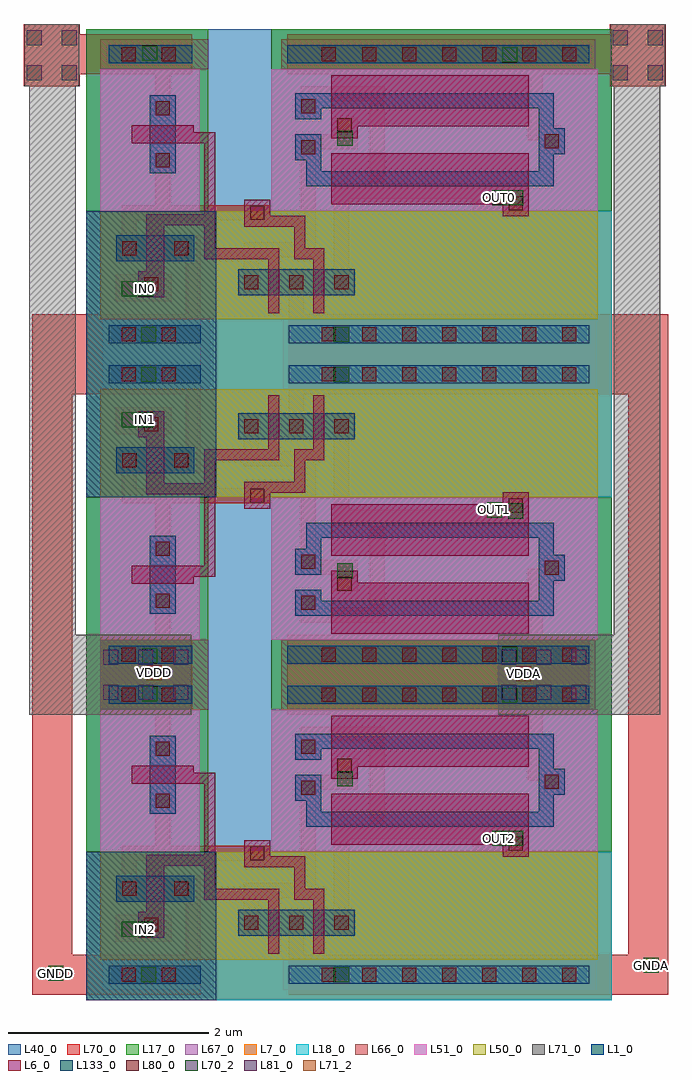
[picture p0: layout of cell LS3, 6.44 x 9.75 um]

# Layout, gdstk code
from math import pi, radians
import gdstk
lib = gdstk.Library(unit=1e-6, precision=1e-09)
def R(c, l, rs):  # rectangles x0, y0, x1, y1
    for r in rs: c.add(gdstk.rectangle(r[:2], r[2:], *l))
def A(c, l, x, y, w, h, nx, ny, dx, dy):  # array of equal rectangles
    R(c, l, [(x+i*dx, y+j*dy, x+i*dx+w, y+j*dy+h) for i in range(nx) for j in range(ny)])
def P(c, l, *ps):  # polygons
    for p in ps: c.add(gdstk.Polygon(p, *l))
L1_0 = (1, 0)
L6_0 = (6, 0)
L7_0 = (7, 0)
L17_0 = (17, 0)
L18_0 = (18, 0)
L40_0 = (40, 0)
L50_0 = (50, 0)
L51_0 = (51, 0)
L66_0 = (66, 0)
L67_0 = (67, 0)
L70_0 = (70, 0)
L70_2 = (70, 2)
L71_0 = (71, 0)
L71_2 = (71, 2)
L80_0 = (80, 0)
L81_0 = (81, 0)
L133_0 = (133, 0)

c_ls = lib.new_cell('LS')
R(c_ls, L1_0, [(0,-0.09,0.92,0.09), (1.8,-0.09,4.8,0.09), (1.295,0.39,2.455,0.65), (0.075,0.73,0.855,0.99), (0.41,1.61,0.67,2.39), (1.865,1.74,2.125,2), (4.295,1.8,4.555,2.06), (0,2.71,0.835,2.89), (1.785,2.71,4.8,2.89)])
P(c_ls, L1_0, [(4.445,1.98),(4.295,1.98),(4.295,1.63),(2.125,1.63),(2.125,1.835),(1.975,1.835),(1.975,1.48),(4.445,1.48)],
  [(4.445,2.41),(1.865,2.41),(1.865,2.15),(2.125,2.15),(2.125,2.26),(4.295,2.26),(4.295,1.98),(4.445,1.98)])
R(c_ls, L6_0, [(1.595,0.21,1.705,0.83), (2.045,0.21,2.155,0.765), (1.855,0.75,2.155,0.86), (0.375,1.09,0.955,1.2), (3.935,1.18,4.195,1.3), (2.225,1.3,4.195,1.81), (2.225,1.96,2.485,2.08), (2.225,2.08,4.195,2.59)])
P(c_ls, L6_0, [(1.705,0.86),(1.065,0.86),(1.065,2.02),(0.85,2.02),(0.85,2.09),(0.23,2.09),(0.23,1.91),(0.955,1.91),(0.955,0.75),(1.705,0.75)],
  [(0.555,1.17),(0.375,1.17),(0.375,0.63),(0.295,0.63),(0.295,0.37),(0.555,0.37)],
  [(1.965,1.185),(1.615,1.185),(1.615,1.345),(1.355,1.345),(1.355,1.075),(1.855,1.075),(1.855,0.815),(1.965,0.815)])
R(c_ls, L7_0, [(-0.225,-0.25,5.025,1.23)])
R(c_ls, L17_0, [(-0.225,1.23,0.995,3.05), (1.625,1.23,5.025,3.05)])
R(c_ls, L18_0, [(-0.225,-0.25,5.025,1.23)])
R(c_ls, L40_0, [(-0.225,-0.25,5.025,3.05)])
R(c_ls, L50_0, [(-0.085,0.15,4.885,1.23)])
R(c_ls, L51_0, [(-0.085,1.23,0.91,2.65), (1.625,1.23,4.885,2.65)])
R(c_ls, L66_0, [(-0.085,0.15,4.885,1.23), (-0.085,2.65,0.995,2.95), (1.725,2.65,4.86,2.95)])
R(c_ls, L67_0, [(-0.06,-0.15,1.01,0.15), (1.74,-0.15,4.86,0.15), (-0.085,1.23,0.91,2.65), (1.625,1.23,4.885,2.65)])
R(c_ls, L70_0, [(0.07,0.33,0.63,0.6), (1.35,0.39,1.5,0.835), (1.35,0.77,2.07,0.92), (1.92,0.92,2.07,2), (3.635,1.235,4.195,1.505), (2.07,1.85,2.485,2), (2.225,1.85,2.485,2.165), (1.92,2.15,2.07,2.33)])
P(c_ls, L70_0, [(0.92,0.99),(0.65,0.99),(0.65,0.73),(0.77,0.73),(0.77,0.2),(0,0.2),(0,-0.2),(0.92,-0.2)],
  [(4.8,3),(1.785,3),(1.785,2.6),(4.185,2.6),(4.185,1.94),(4.35,1.94),(4.35,1.8),(4.5,1.8),(4.5,2.09),(4.335,2.09),(4.335,2.6),(4.8,2.6)],
  [(0.835,3),(0,3),(0,2.6),(0.465,2.6),(0.465,2.13),(0.615,2.13),(0.615,2.6),(0.835,2.6)],
  [(4.8,0.2),(1.95,0.2),(1.95,0.65),(1.8,0.65),(1.8,-0.2),(4.8,-0.2)],
  [(4.195,1.505),(2.755,1.505),(2.755,2.48),(1.92,2.48),(1.92,2.33),(2.605,2.33),(2.605,1.505),(2.25,1.505),(2.25,0.39),(2.4,0.39),(2.4,1.355),(4.195,1.355)],
  [(1.615,1.29),(0.615,1.29),(0.615,1.87),(0.465,1.87),(0.465,1.29),(0.13,1.29),(0.13,0.73),(0.28,0.73),(0.28,1.14),(1.615,1.14)])
R(c_ls, L70_2, [(0.325,-0.075,0.475,0.075), (2.25,-0.075,2.4,0.075), (0.13,0.38,0.28,0.53), (3.99,1.29,4.14,1.44), (2.285,1.885,2.435,2.035), (3.93,2.72,4.08,2.87), (0.335,2.735,0.485,2.885)])
A(c_ls, L80_0, 2.13, -0.07, 0.14, 0.14, 7, 2, 0.4, 2.8)
R(c_ls, L80_0, [(0.13,-0.07,0.27,0.07), (0.53,-0.07,0.67,0.07), (0.355,0.43,0.495,0.57), (1.355,0.45,1.495,0.59), (1.805,0.45,1.945,0.59), (1.805,0.45,1.945,0.59), (2.255,0.45,2.395,0.59), (0.135,0.79,0.275,0.93), (0.655,0.79,0.795,0.93), (1.415,1.145,1.555,1.285), (3.995,1.24,4.135,1.38), (0.47,1.67,0.61,1.81), (1.925,1.8,2.065,1.94), (4.355,1.86,4.495,2), (2.285,2.02,2.425,2.16), (0.47,2.19,0.61,2.33), (1.925,2.21,2.065,2.35), (0.13,2.73,0.27,2.87), (0.53,2.73,0.67,2.87)])
R(c_ls, L133_0, [(-0.225,-0.25,1.075,1.23)])
c_ls.add(gdstk.Label('VSS', (2.325,0), layer=70, texttype=2))
c_ls.add(gdstk.Label('VDD', (4.005,2.795), layer=70, texttype=2))
c_ls.add(gdstk.Label('VSSD', (0.4,0), layer=70, texttype=2))
c_ls.add(gdstk.Label('OUTN', (2.36,1.96), layer=70, texttype=2))
c_ls.add(gdstk.Label('OUT', (4.065,1.365), layer=70, texttype=2))
c_ls.add(gdstk.Label('IN', (0.205,0.455), layer=70, texttype=2))
c_ls.add(gdstk.Label('VDDD', (0.41,2.81), layer=70, texttype=2))

m1_m2_cdns_785228715700 = lib.new_cell('M1_M2_CDNS_785228715700')
R(m1_m2_cdns_785228715700, L70_0, [(-0.28,-0.31,0.28,0.31)])
R(m1_m2_cdns_785228715700, L71_0, [(-0.275,-0.31,0.275,0.31)])
R(m1_m2_cdns_785228715700, L81_0, [(-0.25,-0.25,-0.1,-0.1), (0.1,-0.25,0.25,-0.1), (-0.25,0.1,-0.1,0.25), (0.1,0.1,0.25,0.25)])

m1_m2_cdns_785228715701 = lib.new_cell('M1_M2_CDNS_785228715701')
R(m1_m2_cdns_785228715701, L70_0, [(-0.455,-0.31,0.455,0.31)])
R(m1_m2_cdns_785228715701, L71_0, [(-0.45,-0.31,0.45,0.31)])
A(m1_m2_cdns_785228715701, L81_0, -0.425, -0.25, 0.15, 0.15, 3, 2, 0.35, 0.35)

ls3 = lib.new_cell('LS3')
R(ls3, L66_0, [(0.775,3.21,1.855,3.59), (2.585,3.245,5.72,3.56)])
R(ls3, L67_0, [(0.8,6.355,1.87,6.485), (2.6,6.415,5.72,6.77), (0.8,6.45,1.87,6.94)])
R(ls3, L70_0, [(0.095,0.215,0.495,7.015), (0.495,0.215,1.71,0.615), (2.76,0.215,6.05,0.615), (6.05,0.215,6.45,7.015), (0.97,0.78,1.325,0.965), (4.675,1.69,5.015,1.87), (0.775,3.015,0.955,3.815), (4.615,4.95,5.025,5.16), (0.975,5.87,1.32,6.055), (0.495,6.215,1.735,7.015), (2.75,6.215,6.05,7.015), (0.975,7.18,1.32,7.365), (4.66,8.085,5.02,8.29), (0.065,9.415,0.94,9.815), (5.495,9.415,6.37,9.815)])
R(ls3, L70_2, [(0.255,0.355,0.405,0.505), (6.205,0.435,6.355,0.585), (1.155,0.795,1.305,0.945), (4.69,1.705,4.84,1.855), (4.64,4.985,4.79,5.135), (1.155,5.885,1.305,6.035), (1.155,7.195,1.305,7.345), (4.69,8.105,4.84,8.255)])
R(ls3, L71_0, [(0.065,3.015,0.53,9.815), (0.375,3.015,1.685,3.815), (4.75,3.015,6.06,3.815), (5.905,3.015,6.37,9.815)])
R(ls3, L71_2, [(4.93,3.35,5.08,3.5), (1.24,3.36,1.39,3.51)])
ls3.add(gdstk.Reference(c_ls, (0.86,0.415)))
ls3.add(gdstk.Reference(c_ls, (0.86,6.415), x_reflection=True))
ls3.add(gdstk.Reference(c_ls, (0.86,6.815)))
ls3.add(gdstk.Reference(m1_m2_cdns_785228715700, (0.29,9.605), rotation=pi, x_reflection=True))
ls3.add(gdstk.Reference(m1_m2_cdns_785228715700, (6.145,9.605)))
ls3.add(gdstk.Reference(m1_m2_cdns_785228715701, (5.205,3.415)))
ls3.add(gdstk.Reference(m1_m2_cdns_785228715701, (1.23,3.415), rotation=pi, x_reflection=True))
ls3.add(gdstk.Label('OUT2', (4.765,1.78), layer=70, texttype=2))
ls3.add(gdstk.Label('OUT0', (4.765,8.18), layer=70, texttype=2))
ls3.add(gdstk.Label('OUT1', (4.715,5.06), layer=70, texttype=2))
ls3.add(gdstk.Label('IN2', (1.23,0.87), layer=70, texttype=2))
ls3.add(gdstk.Label('IN1', (1.23,5.96), layer=70, texttype=2))
ls3.add(gdstk.Label('IN0', (1.23,7.27), layer=70, texttype=2))
ls3.add(gdstk.Label('GNDA', (6.28,0.51), layer=70, texttype=2))
ls3.add(gdstk.Label('GNDD', (0.33,0.43), layer=70, texttype=2))
ls3.add(gdstk.Label('VDDA', (5.005,3.425), layer=71, texttype=2))
ls3.add(gdstk.Label('VDDD', (1.315,3.435), layer=71, texttype=2))

lib.write_gds('LS3.gds')
